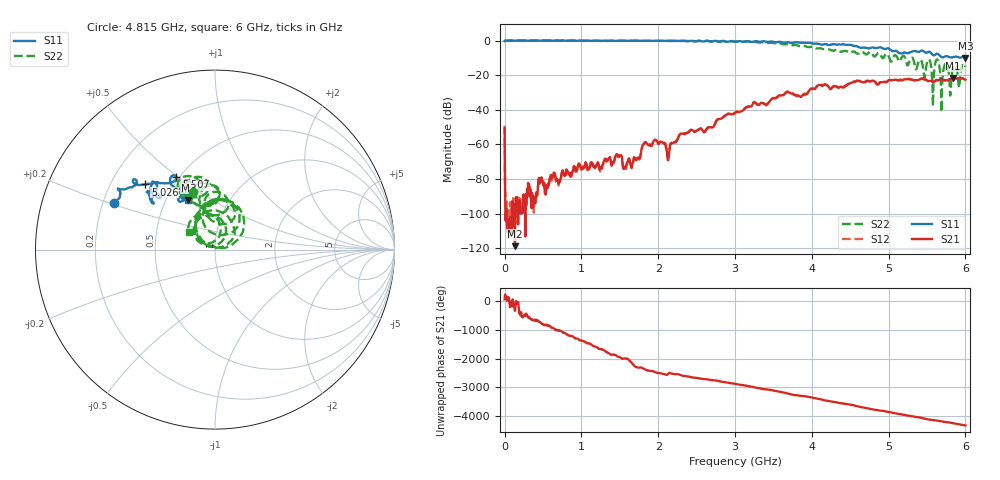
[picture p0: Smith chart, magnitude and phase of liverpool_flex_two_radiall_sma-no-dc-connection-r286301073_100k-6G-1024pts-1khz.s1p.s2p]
# GHZ S RI R 50.000000000000
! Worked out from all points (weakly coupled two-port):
!   1024 points, 100 kHz to 6 GHz, reference 50 ohm
!   highest |S21| = -21.65 dB at 5.842 GHz (marker M1); lowest = -118.8 dB at 135 MHz (marker M2)
!   lowest |S11| = -10.1 dB at 6 GHz (marker M3), VSWR 1.92, Z = 32.3 + j19.9 ohm
!   |S11| at or under -10 dB: 5.999009 GHz to end of sweep
!   |S22| runs from -41.3 to 0.0 dB; largest |S21 - S12| = 0.013
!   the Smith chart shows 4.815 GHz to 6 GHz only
!   S11 on the Smith chart (normalised r, x): 4.815 GHz: 0.25, +0.21; 5.026 GHz: 0.35, +0.35; 5.507 GHz: 0.48, +0.49; 6 GHz: 0.65, +0.40
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0.0001  0.9627 0.0251  0.00109 0.00268  0.00243 0.00246  0.9815 -0.00542
0.03529003  0.9918 -0.0194  -1.1e-06 2.72e-06  -1.08e-05 -8.15e-06  0.9927 -0.0132
0.1349951  0.9921 -0.0784  1.07e-06 4.18e-07  -8.44e-06 4.08e-06  0.9902 -0.0813
1.003016  0.8062 -0.5655  0.000107 0.000184  9.2e-05 0.000174  0.7588 -0.6353
1.478081  0.5804 -0.7964  -0.00036 -0.00031  -0.000325 -0.000318  0.4739 -0.8625
1.566056  0.5352 -0.8234  -0.000196 6.97e-05  -0.000223 -1.51e-06  0.4215 -0.8857
2.005932  0.2805 -0.9395  0.000986 0.000268  0.00104 0.000236  0.1027 -0.9786
2.129097  0.2077 -0.9573  0.000342 -5.95e-05  0.000403 -4.57e-05  0.0102 -0.9816
2.299182  0.072 -0.9719  0.000952 -0.00184  0.000954 -0.00192  -0.14 -0.9703
3.002983  -0.4072 -0.824  0.00834 -0.000305  0.00783 -0.000229  -0.688 -0.6287
4.005898  -0.8026 -0.1853  -0.0178 -0.0363  -0.0171 -0.0385  -0.6234 0.2234
4.815269  -0.5608 0.2581  -0.0668 0.000711  -0.0641 -0.00796  -0.1214 0.3206
5.002949  -0.4526 0.3696  -0.0142 0.0701  -0.0155 0.0698  -0.1604 0.3131
5.026409  -0.3876 0.363  0.00295 0.0717  -0.00393 0.0716  -0.0648 0.241
5.50734  -0.2148 0.4031  -0.0622 -0.0293  -0.0572 -0.0385  0.1233 0.2273
5.57772  -0.1816 0.335  -0.0651 -0.00118  -0.0675 -0.00647  0.00697 0.0106
5.63637  -0.1756 0.3785  -0.0673 0.027  -0.0677 0.0174  0.0117 0.2795
5.689155  -0.1552 0.2951  -0.0492 0.0542  -0.0553 0.0511  0.00193 0.00843
5.74194  -0.1701 0.3058  -0.0243 0.0666  -0.0313 0.0621  0.00676 0.2185
5.80059  -0.1869 0.2688  -0.000477 0.0771  -0.00536 0.0765  -0.0184 0.0183
5.841645  -0.1748 0.2854  0.0309 0.0767  0.0219 0.0791  0.0336 0.168
6  -0.1482 0.2771  0.0731 -0.0116  0.0748 -0.00841  -0.1437 0.1003
